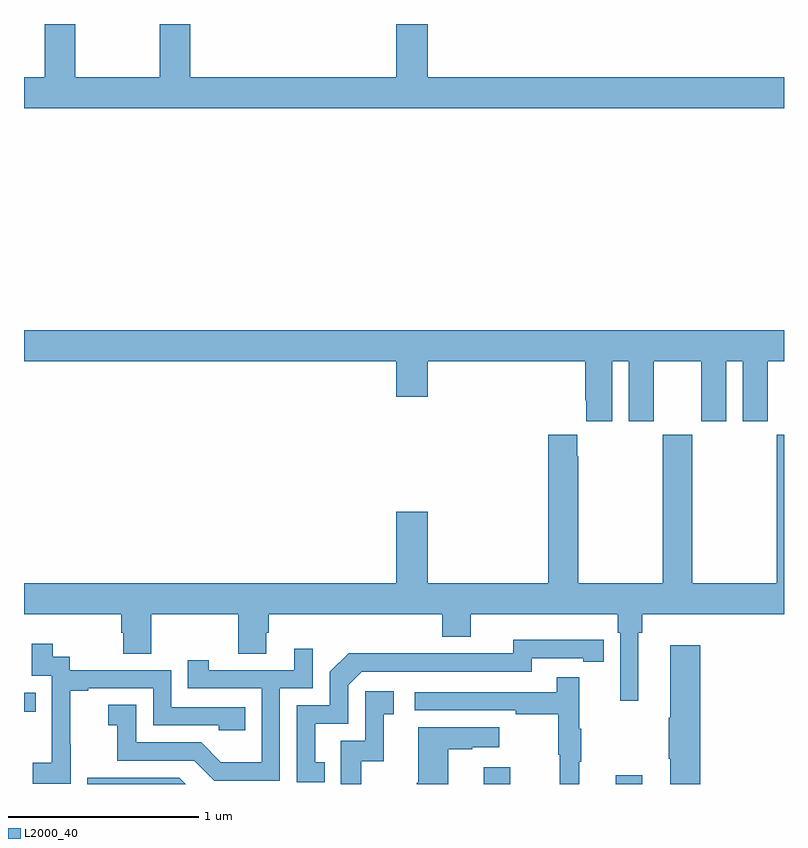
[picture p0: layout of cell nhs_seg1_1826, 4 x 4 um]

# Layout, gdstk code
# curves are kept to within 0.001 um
import gdstk
lib = gdstk.Library(unit=1e-6, precision=1e-09)
def R(c, l, rs):  # rectangles x0, y0, x1, y1
    for r in rs: c.add(gdstk.rectangle(r[:2], r[2:], *l))
def P(c, l, *ps):  # polygons
    for p in ps: c.add(gdstk.Polygon(p, *l))
L2000_40 = (2000, 40)

nhs_seg1_1826 = lib.new_cell('nhs_seg1_1826')
R(nhs_seg1_1826, L2000_40, [(213.419,524.199,213.559,524.287), (214.115,524.199,214.255,524.245), (211,524.578,211.061,524.679)])
P(nhs_seg1_1826, L2000_40, [(215,527.92),(213.124,527.92),(213.124,528.199),(212.96,528.199),(212.96,527.92),(211.874,527.92),(211.874,528.199),(211.714,528.199),(211.714,527.92),(211.269,527.92),(211.269,528.199),(211.109,528.199),(211.109,527.92),(211,527.92),(211,527.756),(215,527.756)],
  [(214.096,526.424),(214.184,526.424),(214.184,526.107),(214.315,526.107),(214.315,526.424),(214.565,526.424),(214.565,526.107),(214.696,526.107),(214.696,526.424),(214.784,526.424),(214.784,526.107),(214.915,526.107),(214.915,526.424),(215,526.424),(215,526.588),(211,526.588),(211,526.424),(212.96,526.424),(212.96,526.236),(213.124,526.236),(213.124,526.424),(213.953,526.424),(213.953,526.219),(213.959,526.219),(213.959,526.107),(214.096,526.107)],
  [(214.234,524.996),(214.253,524.996),(214.253,525.092),(215,525.092),(215,526.036),(214.963,526.036),(214.963,525.256),(214.518,525.256),(214.518,526.036),(214.363,526.036),(214.363,525.256),(213.918,525.256),(213.918,525.923),(213.913,525.923),(213.913,526.036),(213.758,526.036),(213.758,525.256),(213.124,525.256),(213.124,525.631),(212.96,525.631),(212.96,525.256),(211,525.256),(211,525.092),(211.511,525.092),(211.511,524.994),(211.523,524.994),(211.523,524.884),(211.671,524.884),(211.671,525.092),(212.128,525.092),(212.128,524.884),(212.275,524.884),(212.275,524.994),(212.288,524.994),(212.288,525.092),(213.2,525.092),(213.2,524.975),(213.352,524.975),(213.352,525.092),(214.124,525.092),(214.124,524.996),(214.137,524.996),(214.137,524.637),(214.234,524.637)],
  [(212.582,524.313),(212.533,524.313),(212.533,524.517),(212.706,524.517),(212.706,524.718),(212.778,524.79),(213.672,524.79),(213.672,524.862),(213.944,524.862),(213.944,524.842),(214.052,524.842),(214.052,524.958),(213.576,524.959),(213.576,524.886),(213.116,524.886),(213.116,524.888),(212.708,524.888),(212.61,524.79),(212.61,524.613),(212.436,524.613),(212.436,524.208),(212.582,524.208)],
  [(211.245,524.407),(211.244,524.407),(211.244,524.691),(211.339,524.691),(211.339,524.703),(211.68,524.703),(211.68,524.508),(212.025,524.508),(212.025,524.481),(212.165,524.481),(212.165,524.604),(211.776,524.604),(211.776,524.799),(211.242,524.799),(211.242,524.868),(211.15,524.868),(211.15,524.938),(211.041,524.938),(211.041,524.769),(211.146,524.769),(211.146,524.54),(211.145,524.54),(211.145,524.311),(211.047,524.311),(211.047,524.201),(211.245,524.201)],
  [(214.559,524.929),(214.4,524.929),(214.4,524.549),(214.393,524.549),(214.393,524.332),(214.4,524.332),(214.4,524.199),(214.559,524.199)],
  [(212.346,524.703),(212.52,524.703),(212.52,524.911),(212.423,524.911),(212.423,524.799),(211.972,524.799),(211.972,524.851),(211.861,524.851),(211.861,524.703),(212.25,524.703),(212.25,524.314),(212.036,524.314),(211.932,524.418),(211.59,524.418),(211.59,524.617),(211.443,524.617),(211.443,524.507),(211.492,524.507),(211.492,524.322),(211.895,524.322),(212,524.217),(212.346,524.217)],
  [(213.923,524.315),(213.934,524.315),(213.934,524.489),(213.923,524.489),(213.923,524.761),(213.805,524.761),(213.805,524.682),(213.057,524.682),(213.057,524.586),(213.589,524.586),(213.589,524.566),(213.813,524.566),(213.813,524.352),(213.82,524.352),(213.82,524.199),(213.923,524.199)],
  [(212.776,524.319),(212.894,524.319),(212.894,524.565),(212.947,524.565),(212.947,524.686),(212.796,524.686),(212.796,524.427),(212.667,524.427),(212.667,524.199),(212.776,524.199)],
  [(213.232,524.383),(213.359,524.383),(213.359,524.393),(213.502,524.393),(213.502,524.497),(213.074,524.497),(213.074,524.206),(213.067,524.206),(213.067,524.199),(213.232,524.199)],
  [(211.818,524.232),(211.332,524.232),(211.332,524.199),(211.851,524.199)])

lib.write_gds('nhs_seg1_1826.gds')
